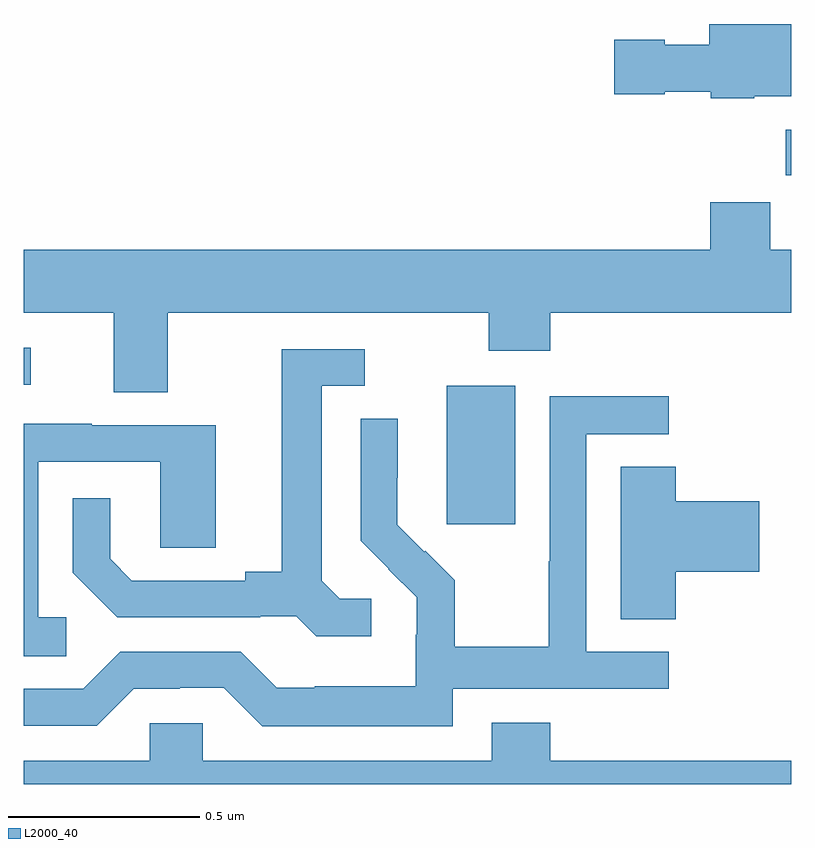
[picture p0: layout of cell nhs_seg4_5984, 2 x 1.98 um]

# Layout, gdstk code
import gdstk
lib = gdstk.Library(unit=1e-6, precision=1e-09)
def R(c, l, rs):  # rectangles x0, y0, x1, y1
    for r in rs: c.add(gdstk.rectangle(r[:2], r[2:], *l))
def P(c, l, *ps):  # polygons
    for p in ps: c.add(gdstk.Polygon(p, *l))
L2000_40 = (2000, 40)

nhs_seg4_5984 = lib.new_cell('nhs_seg4_5984')
R(nhs_seg4_5984, L2000_40, [(185.102,821.577,185.281,821.938), (184,821.94,184.018,822.036), (185.986,822.486,186,822.604)])
P(nhs_seg4_5984, L2000_40, [(185.904,822.692),(186,822.692),(186,822.88),(185.786,822.88),(185.786,822.826),(185.67,822.826),(185.67,822.839),(185.538,822.839),(185.538,822.697),(185.67,822.697),(185.67,822.704),(185.79,822.704),(185.79,822.686),(185.904,822.686)],
  [(184.375,822.128),(185.212,822.128),(185.212,822.029),(185.372,822.029),(185.372,822.128),(186,822.128),(186,822.292),(185.945,822.292),(185.945,822.416),(185.789,822.416),(185.789,822.292),(184,822.292),(184,822.128),(184.235,822.128),(184.235,821.92),(184.375,821.92)],
  [(184.906,821.382),(184.824,821.382),(184.777,821.429),(184.777,821.937),(184.888,821.937),(184.888,822.033),(184.673,822.033),(184.673,821.453),(184.577,821.453),(184.577,821.43),(184.282,821.43),(184.225,821.487),(184.225,821.644),(184.128,821.644),(184.128,821.45),(184.244,821.334),(184.616,821.334),(184.616,821.337),(184.71,821.337),(184.762,821.285),(184.906,821.285)],
  [(185.118,821.148),(185.68,821.148),(185.68,821.244),(185.466,821.244),(185.466,821.811),(185.68,821.811),(185.68,821.91),(185.37,821.91),(185.37,821.48),(185.368,821.48),(185.368,821.257),(185.123,821.257),(185.123,821.431),(185.046,821.508),(185.043,821.505),(184.973,821.576),(184.973,821.698),(184.974,821.698),(184.974,821.852),(184.878,821.852),(184.878,821.534),(184.951,821.461),(184.95,821.46),(185.024,821.386),(185.024,821.289),(185.022,821.289),(185.022,821.155),(184.759,821.155),(184.759,821.151),(184.659,821.151),(184.566,821.244),(184.251,821.244),(184.155,821.148),(184,821.148),(184,821.052),(184.191,821.052),(184.287,821.148),(184.406,821.148),(184.406,821.151),(184.521,821.151),(184.621,821.051),(185.118,821.051)],
  [(184.111,821.334),(184.038,821.334),(184.038,821.739),(184.356,821.739),(184.356,821.515),(184.501,821.515),(184.501,821.835),(184.177,821.835),(184.177,821.839),(184,821.839),(184,821.233),(184.111,821.233)],
  [(185.699,821.453),(185.917,821.453),(185.917,821.636),(185.699,821.636),(185.699,821.726),(185.555,821.726),(185.555,821.329),(185.699,821.329)],
  [(186,820.96),(185.372,820.96),(185.372,821.059),(185.219,821.059),(185.219,820.96),(184.467,820.96),(184.467,821.058),(184.329,821.058),(184.329,820.96),(184,820.96),(184,820.9),(186,820.9)])

lib.write_gds('nhs_seg4_5984.gds')
